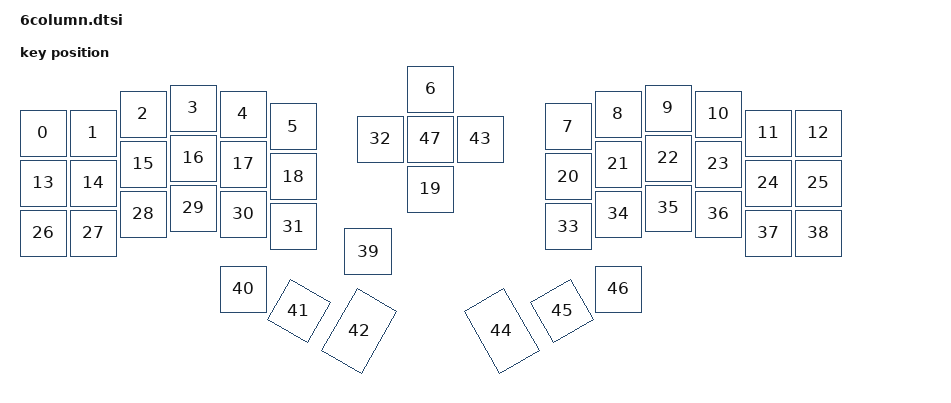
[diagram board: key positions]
#include <physical_layouts.dtsi>

/ {
    default_layout: default_layout {
        compatible = "zmk,physical-layout";
        display-name = "6 Column";

        keys  //                     w   h    x    y     rot    rx    ry
            = <&key_physical_attrs 100 100  150  113       0     0     0>
            , <&key_physical_attrs 100 100  250  113       0     0     0>
            , <&key_physical_attrs 100 100  350   75       0     0     0>
            , <&key_physical_attrs 100 100  450   63       0     0     0>
            , <&key_physical_attrs 100 100  550   75       0     0     0>
            , <&key_physical_attrs 100 100  650  100       0     0     0>
            , <&key_physical_attrs 100 100  925   25       0     0     0>
            , <&key_physical_attrs 100 100 1200  100       0     0     0>
            , <&key_physical_attrs 100 100 1300   75       0     0     0>
            , <&key_physical_attrs 100 100 1400   63       0     0     0>
            , <&key_physical_attrs 100 100 1500   75       0     0     0>
            , <&key_physical_attrs 100 100 1600  113       0     0     0>
            , <&key_physical_attrs 100 100 1700  113       0     0     0>
            , <&key_physical_attrs 100 100  150  213       0     0     0>
            , <&key_physical_attrs 100 100  250  213       0     0     0>
            , <&key_physical_attrs 100 100  350  175       0     0     0>
            , <&key_physical_attrs 100 100  450  163       0     0     0>
            , <&key_physical_attrs 100 100  550  175       0     0     0>
            , <&key_physical_attrs 100 100  650  200       0     0     0>
            , <&key_physical_attrs 100 100  925  225       0     0     0>
            , <&key_physical_attrs 100 100 1200  200       0     0     0>
            , <&key_physical_attrs 100 100 1300  175       0     0     0>
            , <&key_physical_attrs 100 100 1400  163       0     0     0>
            , <&key_physical_attrs 100 100 1500  175       0     0     0>
            , <&key_physical_attrs 100 100 1600  213       0     0     0>
            , <&key_physical_attrs 100 100 1700  213       0     0     0>
            , <&key_physical_attrs 100 100  150  313       0     0     0>
            , <&key_physical_attrs 100 100  250  313       0     0     0>
            , <&key_physical_attrs 100 100  350  275       0     0     0>
            , <&key_physical_attrs 100 100  450  263       0     0     0>
            , <&key_physical_attrs 100 100  550  275       0     0     0>
            , <&key_physical_attrs 100 100  650  300       0     0     0>
            , <&key_physical_attrs 100 100  825  125       0     0     0>
            , <&key_physical_attrs 100 100 1200  300       0     0     0>
            , <&key_physical_attrs 100 100 1300  275       0     0     0>
            , <&key_physical_attrs 100 100 1400  263       0     0     0>
            , <&key_physical_attrs 100 100 1500  275       0     0     0>
            , <&key_physical_attrs 100 100 1600  313       0     0     0>
            , <&key_physical_attrs 100 100 1700  313       0     0     0>
            , <&key_physical_attrs 100 100  800  350       0     0     0>
            , <&key_physical_attrs 100 100  550  425       0     0     0>
            , <&key_physical_attrs 100 100  700  425    3000   650   425>
            , <&key_physical_attrs 100 150  825  375    3000   650   425>
            , <&key_physical_attrs 100 100 1025  125       0     0     0>
            , <&key_physical_attrs 100 150 1025  375 (-3000)  1300   425>
            , <&key_physical_attrs 100 100 1150  425 (-3000)  1300   425>
            , <&key_physical_attrs 100 100 1300  425       0     0     0>
            , <&key_physical_attrs 100 100  925  125       0     0     0>
            ;
    };

    position_map {
        compatible = "zmk,physical-layout-position-map";

        default_layout {
            physical-layout = <&default_layout>;
            positions = <>;
        };
    };
};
